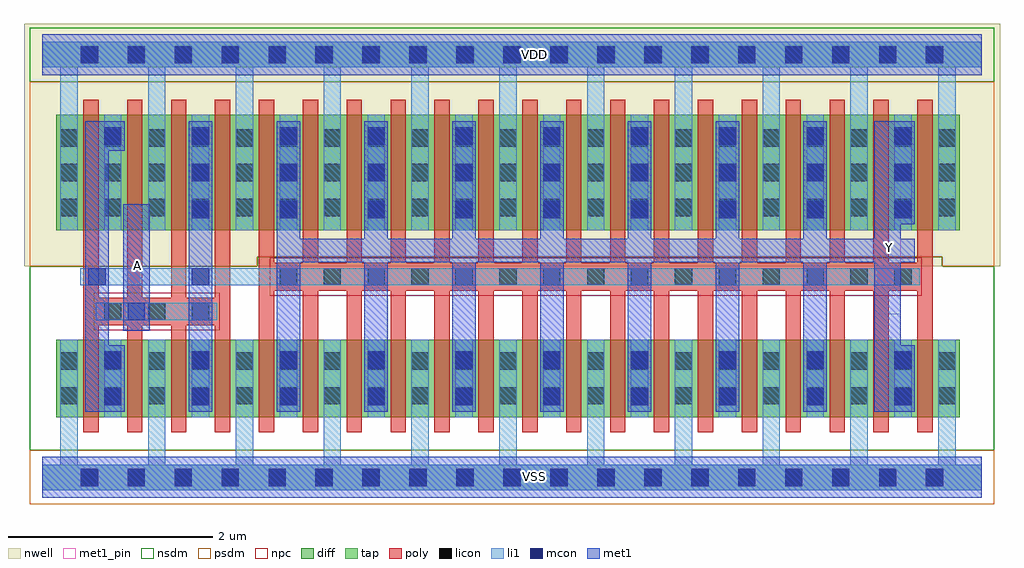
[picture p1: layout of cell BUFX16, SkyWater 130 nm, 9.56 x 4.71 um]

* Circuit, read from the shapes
.subckt BUFX16 A VDD VSS Y
XM1 n1 A VSS VSS sky130_fd_pr__nfet_01v8 w=0.76 l=0.15 m=4
XM2 Y n1 VSS VSS sky130_fd_pr__nfet_01v8 w=0.76 l=0.15 m=16
XM3 n1 A VDD VDD sky130_fd_pr__pfet_01v8 w=1.13 l=0.15 m=4
XM4 Y n1 VDD VDD sky130_fd_pr__pfet_01v8 w=1.13 l=0.15 m=16
.ends

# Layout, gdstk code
from math import pi, radians
import gdstk
lib = gdstk.Library(unit=1e-6, precision=1e-09)
def R(c, l, rs):  # rectangles x0, y0, x1, y1
    for r in rs: c.add(gdstk.rectangle(r[:2], r[2:], *l))
def A(c, l, x, y, w, h, nx, ny, dx, dy):  # array of equal rectangles
    R(c, l, [(x+i*dx, y+j*dy, x+i*dx+w, y+j*dy+h) for i in range(nx) for j in range(ny)])
def P(c, l, *ps):  # polygons
    for p in ps: c.add(gdstk.Polygon(p, *l))
nwell = (64, 20)
diff = (65, 20)
tap = (65, 44)
poly = (66, 20)
licon = (66, 44)
li1 = (67, 20)
mcon = (67, 44)
met1_pin = (68, 16)
met1 = (68, 20)
nsdm = (93, 44)
psdm = (94, 20)
npc = (95, 20)

pyl1con_c_cdns_751554744 = lib.new_cell('PYL1CON_C_CDNS_751554744751')
R(pyl1con_c_cdns_751554744, poly, [(-0.135,-0.165,0.135,0.165)])
R(pyl1con_c_cdns_751554744, licon, [(-0.085,-0.085,0.085,0.085)])
R(pyl1con_c_cdns_751554744, npc, [(-0.185,-0.185,0.185,0.185)])

l1m1_c_cdns_751554744750 = lib.new_cell('L1M1_C_CDNS_751554744750$$8')
R(l1m1_c_cdns_751554744750, li1, [(-0.085,-0.165,0.085,0.165)])
R(l1m1_c_cdns_751554744750, mcon, [(-0.085,-0.085,0.085,0.085)])
R(l1m1_c_cdns_751554744750, met1, [(-0.115,-0.145,0.115,0.145)])

c_l1m1_c_cdns_751554744750 = lib.new_cell('L1M1_C_CDNS_751554744750$$9')
R(c_l1m1_c_cdns_751554744750, li1, [(-0.165,-0.085,0.165,0.085)])
R(c_l1m1_c_cdns_751554744750, mcon, [(-0.085,-0.085,0.085,0.085)])
R(c_l1m1_c_cdns_751554744750, met1, [(-0.115,-0.145,0.115,0.145)])

c_l1m1_c_cdns_751554744750_ = lib.new_cell('L1M1_C_CDNS_751554744750$$7')
R(c_l1m1_c_cdns_751554744750_, li1, [(-0.085,-0.345,0.085,0.345)])
R(c_l1m1_c_cdns_751554744750_, mcon, [(-0.085,-0.265,0.085,-0.095), (-0.085,0.095,0.085,0.265)])
R(c_l1m1_c_cdns_751554744750_, met1, [(-0.115,-0.325,0.115,0.325)])

c_l1m1_c_cdns_751554744750__ = lib.new_cell('L1M1_C_CDNS_751554744750$$11')
R(c_l1m1_c_cdns_751554744750__, li1, [(-0.085,-0.525,0.085,0.525)])
A(c_l1m1_c_cdns_751554744750__, mcon, -0.085, -0.445, 0.17, 0.17, 1, 3, 0, 0.36)
R(c_l1m1_c_cdns_751554744750__, met1, [(-0.115,-0.505,0.115,0.505)])

bufx16 = lib.new_cell('BUFX16')
R(bufx16, nwell, [(-0.18,2.07,9.38,4.445)])
R(bufx16, diff, [(0.135,0.59,8.985,1.35), (0.135,2.42,8.985,3.55)])
A(bufx16, poly, 0.4, 0.44, 0.15, 3.26, 20, 1, 0.43, 0)
A(bufx16, licon, 0.375, -0.085, 0.17, 0.17, 19, 2, 0.46, 4.14)
A(bufx16, licon, 0.175, 0.715, 0.17, 0.17, 21, 2, 0.43, 0.34)
A(bufx16, licon, 0.175, 2.56, 0.17, 0.17, 21, 3, 0.43, 0.34)
A(bufx16, li1, 0.605, 0.59, 0.17, 0.76, 10, 1, 0.86, 0)
A(bufx16, li1, 0.605, 2.42, 0.17, 1.13, 10, 1, 0.86, 0)
P(bufx16, li1, [(9.2,4.265),(0,4.265),(0,4.015),(0.175,4.015),(0.175,2.42),(0.345,2.42),(0.345,4.015),(1.035,4.015),(1.035,2.42),(1.205,2.42),(1.205,4.015),(1.895,4.015),(1.895,2.42),(2.065,2.42),(2.065,4.015),(2.755,4.015),(2.755,2.42),(2.925,2.42),(2.925,4.015),(3.615,4.015),(3.615,2.42),(3.785,2.42),(3.785,4.015),(4.475,4.015),(4.475,2.42),(4.645,2.42),(4.645,4.015),(5.335,4.015),(5.335,2.42),(5.505,2.42),(5.505,4.015),(6.195,4.015),(6.195,2.42),(6.365,2.42),(6.365,4.015),(7.055,4.015),(7.055,2.42),(7.225,2.42),(7.225,4.015),(7.915,4.015),(7.915,2.42),(8.085,2.42),(8.085,4.015),(8.775,4.015),(8.775,2.42),(8.945,2.42),(8.945,4.015),(9.2,4.015)],
  [(9.2,0.125),(8.945,0.125),(8.945,1.35),(8.775,1.35),(8.775,0.125),(8.085,0.125),(8.085,1.35),(7.915,1.35),(7.915,0.125),(7.225,0.125),(7.225,1.35),(7.055,1.35),(7.055,0.125),(6.365,0.125),(6.365,1.35),(6.195,1.35),(6.195,0.125),(5.505,0.125),(5.505,1.35),(5.335,1.35),(5.335,0.125),(4.645,0.125),(4.645,1.35),(4.475,1.35),(4.475,0.125),(3.785,0.125),(3.785,1.35),(3.615,1.35),(3.615,0.125),(2.925,0.125),(2.925,1.35),(2.755,1.35),(2.755,0.125),(2.065,0.125),(2.065,1.35),(1.895,1.35),(1.895,0.125),(1.205,0.125),(1.205,1.35),(1.035,1.35),(1.035,0.125),(0.345,0.125),(0.345,1.35),(0.175,1.35),(0.175,0.125),(0,0.125),(0,-0.125),(9.2,-0.125)])
A(bufx16, mcon, 0.375, -0.085, 0.17, 0.17, 19, 2, 0.46, 4.14)
R(bufx16, met1_pin, [(0.79,1.435,1.05,2.675), (8.15,1.6,8.41,2.84)])
P(bufx16, met1, [(8.545,2.335),(8.41,2.335),(8.41,3.49),(8.15,3.49),(8.15,2.335),(7.685,2.335),(7.685,3.49),(7.455,3.49),(7.455,2.335),(6.825,2.335),(6.825,3.49),(6.595,3.49),(6.595,2.335),(5.965,2.335),(5.965,3.49),(5.735,3.49),(5.735,2.335),(5.105,2.335),(5.105,3.49),(4.875,3.49),(4.875,2.335),(4.245,2.335),(4.245,3.49),(4.015,3.49),(4.015,2.335),(3.385,2.335),(3.385,3.49),(3.155,3.49),(3.155,2.335),(2.525,2.335),(2.525,3.49),(2.295,3.49),(2.295,0.645),(2.525,0.645),(2.525,2.105),(3.155,2.105),(3.155,0.645),(3.385,0.645),(3.385,2.105),(4.015,2.105),(4.015,0.645),(4.245,0.645),(4.245,2.105),(4.875,2.105),(4.875,0.645),(5.105,0.645),(5.105,2.105),(5.735,2.105),(5.735,0.645),(5.965,0.645),(5.965,2.105),(6.595,2.105),(6.595,0.645),(6.825,0.645),(6.825,2.105),(7.455,2.105),(7.455,0.645),(7.685,0.645),(7.685,2.105),(8.15,2.105),(8.15,0.645),(8.41,0.645),(8.41,2.105),(8.545,2.105)])
R(bufx16, nsdm, [(-0.125,3.875,9.325,4.405)])
P(bufx16, nsdm, [(9.325,2.07),(8.815,2.07),(8.815,2.16),(2.105,2.16),(2.105,2.07),(-0.125,2.07),(-0.125,0.265),(9.325,0.265)])
R(bufx16, psdm, [(-0.125,-0.265,9.325,0.265)])
P(bufx16, psdm, [(9.325,3.875),(-0.125,3.875),(-0.125,2.07),(2.105,2.07),(2.105,2.16),(8.815,2.16),(8.815,2.07),(9.325,2.07)])
R(bufx16, npc, [(0.505,1.44,1.735,1.81), (2.225,1.78,8.615,2.15)])
bufx16.add(gdstk.FlexPath([(0.525,1.965),(8.595,1.965)], 0.17, ends="flush", simple_path=True, layer=67, datatype=20))  # li1
bufx16.add(gdstk.FlexPath([(0.525,1.625),(1.715,1.625)], 0.17, ends="flush", simple_path=True, layer=67, datatype=20))  # li1
bufx16.add(gdstk.FlexPath([(0.535,0.645),(0.535,3.49)], 0.23, ends="flush", simple_path=True, layer=68, datatype=20))  # met1
bufx16.add(gdstk.FlexPath([(1.55,0.645),(1.55,3.49)], 0.23, ends="flush", simple_path=True, layer=68, datatype=20))  # met1
bufx16.add(gdstk.FlexPath([(0.92,2.675),(0.92,1.435)], 0.26, ends="flush", simple_path=True, layer=68, datatype=20))  # met1
bufx16.add(gdstk.FlexPath([(0,0),(9.2,0)], 0.4, ends="flush", simple_path=True, layer=68, datatype=20))  # met1
bufx16.add(gdstk.FlexPath([(0,4.14),(9.2,4.14)], 0.4, ends="flush", simple_path=True, layer=68, datatype=20))  # met1
bufx16.add(gdstk.FlexPath([(0,0),(9.2,0)], 0.4, ends="flush", simple_path=True, layer=68, datatype=16))  # met1_pin
bufx16.add(gdstk.FlexPath([(0,4.14),(9.2,4.14)], 0.4, ends="flush", simple_path=True, layer=68, datatype=16))  # met1_pin
bufx16.add(gdstk.FlexPath([(0,0),(9.2,0)], 0.25, ends="flush", simple_path=True, layer=65, datatype=44))  # tap
bufx16.add(gdstk.FlexPath([(0,4.14),(9.2,4.14)], 0.25, ends="flush", simple_path=True, layer=65, datatype=44))  # tap
bufx16.add(gdstk.Reference(pyl1con_c_cdns_751554744, (1.55,1.625), rotation=3*pi/2, x_reflection=True))
bufx16.add(gdstk.Reference(pyl1con_c_cdns_751554744, (7.14,1.965), rotation=3*pi/2, x_reflection=True))
bufx16.add(gdstk.Reference(pyl1con_c_cdns_751554744, (8.43,1.965), rotation=3*pi/2, x_reflection=True))
bufx16.add(gdstk.Reference(pyl1con_c_cdns_751554744, (8,1.965), rotation=3*pi/2, x_reflection=True))
bufx16.add(gdstk.Reference(pyl1con_c_cdns_751554744, (7.57,1.965), rotation=3*pi/2, x_reflection=True))
bufx16.add(gdstk.Reference(pyl1con_c_cdns_751554744, (6.71,1.965), rotation=3*pi/2, x_reflection=True))
bufx16.add(gdstk.Reference(pyl1con_c_cdns_751554744, (6.28,1.965), rotation=3*pi/2, x_reflection=True))
bufx16.add(gdstk.Reference(pyl1con_c_cdns_751554744, (5.85,1.965), rotation=3*pi/2, x_reflection=True))
bufx16.add(gdstk.Reference(pyl1con_c_cdns_751554744, (5.42,1.965), rotation=3*pi/2, x_reflection=True))
bufx16.add(gdstk.Reference(pyl1con_c_cdns_751554744, (4.99,1.965), rotation=3*pi/2, x_reflection=True))
bufx16.add(gdstk.Reference(pyl1con_c_cdns_751554744, (4.56,1.965), rotation=3*pi/2, x_reflection=True))
bufx16.add(gdstk.Reference(pyl1con_c_cdns_751554744, (4.13,1.965), rotation=3*pi/2, x_reflection=True))
bufx16.add(gdstk.Reference(pyl1con_c_cdns_751554744, (3.7,1.965), rotation=3*pi/2, x_reflection=True))
bufx16.add(gdstk.Reference(pyl1con_c_cdns_751554744, (3.27,1.965), rotation=3*pi/2, x_reflection=True))
bufx16.add(gdstk.Reference(pyl1con_c_cdns_751554744, (2.84,1.965), rotation=3*pi/2, x_reflection=True))
bufx16.add(gdstk.Reference(pyl1con_c_cdns_751554744, (2.41,1.965), rotation=3*pi/2, x_reflection=True))
bufx16.add(gdstk.Reference(pyl1con_c_cdns_751554744, (1.12,1.625), rotation=3*pi/2, x_reflection=True))
bufx16.add(gdstk.Reference(pyl1con_c_cdns_751554744, (0.69,1.625), rotation=3*pi/2, x_reflection=True))
bufx16.add(gdstk.Reference(l1m1_c_cdns_751554744750, (0.69,3.345)))
bufx16.add(gdstk.Reference(c_l1m1_c_cdns_751554744750, (1.55,1.965)))
bufx16.add(gdstk.Reference(c_l1m1_c_cdns_751554744750, (0.535,1.965)))
bufx16.add(gdstk.Reference(c_l1m1_c_cdns_751554744750, (0.92,1.625)))
bufx16.add(gdstk.Reference(c_l1m1_c_cdns_751554744750_, (0.69,0.97)))
bufx16.add(gdstk.Reference(c_l1m1_c_cdns_751554744750_, (4.99,0.97)))
bufx16.add(gdstk.Reference(c_l1m1_c_cdns_751554744750_, (4.13,0.97)))
bufx16.add(gdstk.Reference(c_l1m1_c_cdns_751554744750_, (1.55,0.97)))
bufx16.add(gdstk.Reference(c_l1m1_c_cdns_751554744750_, (5.85,0.97)))
bufx16.add(gdstk.Reference(c_l1m1_c_cdns_751554744750_, (6.71,0.97)))
bufx16.add(gdstk.Reference(c_l1m1_c_cdns_751554744750_, (2.41,0.97)))
bufx16.add(gdstk.Reference(c_l1m1_c_cdns_751554744750_, (3.27,0.97)))
bufx16.add(gdstk.Reference(c_l1m1_c_cdns_751554744750_, (8.43,0.97)))
bufx16.add(gdstk.Reference(c_l1m1_c_cdns_751554744750_, (7.57,0.97)))
bufx16.add(gdstk.Reference(c_l1m1_c_cdns_751554744750__, (6.71,2.985)))
bufx16.add(gdstk.Reference(c_l1m1_c_cdns_751554744750__, (1.55,2.985)))
bufx16.add(gdstk.Reference(c_l1m1_c_cdns_751554744750__, (5.85,2.985)))
bufx16.add(gdstk.Reference(c_l1m1_c_cdns_751554744750__, (7.57,2.985)))
bufx16.add(gdstk.Reference(c_l1m1_c_cdns_751554744750__, (2.41,2.985)))
bufx16.add(gdstk.Reference(c_l1m1_c_cdns_751554744750__, (3.27,2.985)))
bufx16.add(gdstk.Reference(c_l1m1_c_cdns_751554744750__, (8.43,2.985)))
bufx16.add(gdstk.Reference(c_l1m1_c_cdns_751554744750__, (4.99,2.985)))
bufx16.add(gdstk.Reference(c_l1m1_c_cdns_751554744750__, (4.13,2.985)))
bufx16.add(gdstk.Label('VSS', (4.825,0.005), layer=68, texttype=5))
bufx16.add(gdstk.Label('A', (0.935,2.075), layer=68, texttype=5))
bufx16.add(gdstk.Label('Y', (8.295,2.25), layer=68, texttype=5))
bufx16.add(gdstk.Label('VDD', (4.825,4.145), layer=68, texttype=5))

lib.write_gds('BUFX16.gds')
